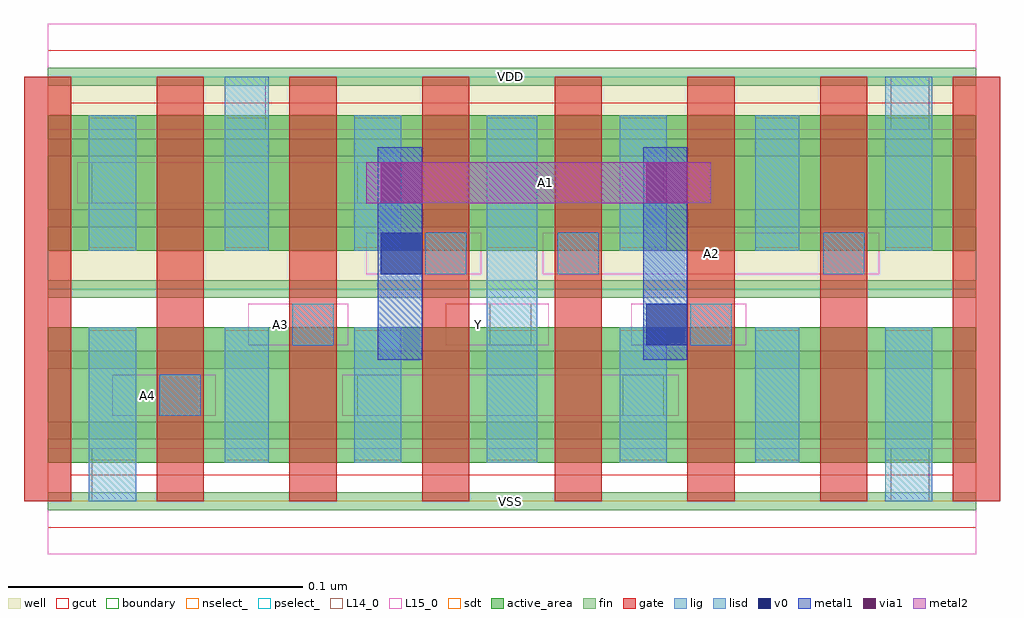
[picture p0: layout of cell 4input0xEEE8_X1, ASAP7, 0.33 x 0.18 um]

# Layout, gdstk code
import gdstk
lib = gdstk.Library(unit=1e-6, precision=1e-09)
def R(c, l, rs):  # rectangles x0, y0, x1, y1
    for r in rs: c.add(gdstk.rectangle(r[:2], r[2:], *l))
def A(c, l, x, y, w, h, nx, ny, dx, dy):  # array of equal rectangles
    R(c, l, [(x+i*dx, y+j*dy, x+i*dx+w, y+j*dy+h) for i in range(nx) for j in range(ny)])
def P(c, l, *ps):  # polygons
    for p in ps: c.add(gdstk.Polygon(p, *l))
well = (1, 0)
fin = (2, 0)
gate = (7, 0)
gcut = (10, 0)
active_area = (11, 0)
nselect_ = (12, 0)
pselect_ = (13, 0)
L14_0 = (14, 0)
L15_0 = (15, 0)
lig = (16, 0)
lisd = (17, 0)
v0 = (18, 0)
metal1 = (19, 0)
metal2 = (20, 0)
via1 = (21, 0)
sdt = (88, 0)
boundary = (100, 0)

c_4input0xeee8_x1 = lib.new_cell('4input0xEEE8_X1')
R(c_4input0xeee8_x1, well, [(0,0.072,0.315,0.144)])
A(c_4input0xeee8_x1, fin, 0, -0.003, 0.315, 0.006, 1, 7, 0, 0.024)
A(c_4input0xeee8_x1, gate, -0.008, 0, 0.016, 0.144, 8, 1, 0.045, 0)
P(c_4input0xeee8_x1, gcut, [(0,-0.009),(0,0),(-0.008,0),(-0.008,0.135),(0.008,0.135),(0.008,0.009),(0.307,0.009),(0.307,0.135),(-0.008,0.135),(-0.008,0.144),(0,0.144),(0,0.153),(0.315,0.153),(0.315,0.144),(0.323,0.144),(0.323,0),(0.315,0),(0.315,-0.009)])
R(c_4input0xeee8_x1, active_area, [(0,0.013,0.315,0.059), (0,0.085,0.315,0.131)])
R(c_4input0xeee8_x1, nselect_, [(0,0,0.315,0.072)])
R(c_4input0xeee8_x1, pselect_, [(0,0.072,0.315,0.144)])
R(c_4input0xeee8_x1, L14_0, [(0.015,0,0.03,0.018), (0.286,0,0.299,0.018), (0.038,0.029,0.052,0.043), (0.105,0.029,0.12,0.043), (0.195,0.029,0.209,0.043), (0.083,0.053,0.097,0.067), (0.15,0.053,0.164,0.067), (0.218,0.053,0.232,0.067), (0.128,0.077,0.142,0.091), (0.173,0.077,0.187,0.091), (0.263,0.077,0.277,0.091), (0.015,0.101,0.03,0.115), (0.105,0.101,0.12,0.115), (0.195,0.101,0.209,0.115), (0.06,0.126,0.074,0.144), (0.286,0.126,0.299,0.144)])
R(c_4input0xeee8_x1, L15_0, [(0,-0.018,0.315,0.018), (0.022,0.029,0.057,0.043), (0.1,0.029,0.214,0.043), (0.068,0.053,0.102,0.067), (0.135,0.053,0.17,0.067), (0.198,0.053,0.237,0.067), (0.108,0.077,0.147,0.091), (0.168,0.077,0.282,0.091), (0.01,0.101,0.214,0.115), (0,0.126,0.315,0.162)])
R(c_4input0xeee8_x1, lig, [(0.038,0.029,0.052,0.043), (0.083,0.053,0.097,0.067), (0.218,0.053,0.232,0.067), (0.128,0.077,0.142,0.091), (0.173,0.077,0.187,0.091), (0.263,0.077,0.277,0.091)])
A(c_4input0xeee8_x1, lisd, 0.014, 0.085, 0.016, 0.046, 3, 1, 0.09, 0)
R(c_4input0xeee8_x1, lisd, [(0.014,0,0.03,0.059), (0.284,0,0.3,0.059), (0.06,0.013,0.075,0.059), (0.104,0.013,0.12,0.059), (0.149,0.013,0.166,0.131), (0.194,0.013,0.21,0.059), (0.24,0.013,0.255,0.059), (0.06,0.085,0.075,0.144), (0.24,0.085,0.255,0.131), (0.284,0.085,0.3,0.144)])
R(c_4input0xeee8_x1, v0, [(0.203,0.053,0.217,0.067), (0.113,0.077,0.127,0.091)])
R(c_4input0xeee8_x1, metal1, [(0.112,0.048,0.127,0.12), (0.202,0.048,0.217,0.12)])
R(c_4input0xeee8_x1, metal2, [(0.108,0.101,0.225,0.115)])
R(c_4input0xeee8_x1, via1, [(0.113,0.101,0.127,0.115), (0.203,0.101,0.217,0.115)])
A(c_4input0xeee8_x1, sdt, 0.014, 0.014, 0.016, 0.044, 4, 2, 0.09, 0.072)
R(c_4input0xeee8_x1, sdt, [(0.06,0.014,0.075,0.058), (0.149,0.014,0.166,0.058), (0.24,0.014,0.255,0.058), (0.06,0.086,0.075,0.13), (0.149,0.086,0.166,0.13), (0.24,0.086,0.255,0.13)])
R(c_4input0xeee8_x1, boundary, [(0,0,0.315,0.144)])
c_4input0xeee8_x1.add(gdstk.Label('A4', (0.034,0.036), layer=15, texttype=251))
c_4input0xeee8_x1.add(gdstk.Label('VSS', (0.157,0), layer=15, texttype=251))
c_4input0xeee8_x1.add(gdstk.Label('VDD', (0.157,0.144), layer=15, texttype=251))
c_4input0xeee8_x1.add(gdstk.Label('Y', (0.146,0.06), layer=15, texttype=251))
c_4input0xeee8_x1.add(gdstk.Label('VSS', (0.157,0), layer=15, texttype=251))
c_4input0xeee8_x1.add(gdstk.Label('VDD', (0.157,0.144), layer=15, texttype=251))
c_4input0xeee8_x1.add(gdstk.Label('A2', (0.225,0.084), layer=15, texttype=251))
c_4input0xeee8_x1.add(gdstk.Label('VSS', (0.157,0), layer=15, texttype=251))
c_4input0xeee8_x1.add(gdstk.Label('VDD', (0.157,0.144), layer=15, texttype=251))
c_4input0xeee8_x1.add(gdstk.Label('VSS', (0.157,0), layer=15, texttype=251))
c_4input0xeee8_x1.add(gdstk.Label('VDD', (0.157,0.144), layer=15, texttype=251))
c_4input0xeee8_x1.add(gdstk.Label('A3', (0.079,0.06), layer=15, texttype=251))
c_4input0xeee8_x1.add(gdstk.Label('VSS', (0.157,0), layer=15, texttype=251))
c_4input0xeee8_x1.add(gdstk.Label('VDD', (0.157,0.144), layer=15, texttype=251))
c_4input0xeee8_x1.add(gdstk.Label('VSS', (0.157,0), layer=3, texttype=251))
c_4input0xeee8_x1.add(gdstk.Label('VSS', (0.157,0), layer=3, texttype=251))
c_4input0xeee8_x1.add(gdstk.Label('VSS', (0.157,0), layer=3, texttype=251))
c_4input0xeee8_x1.add(gdstk.Label('VSS', (0.157,0), layer=3, texttype=251))
c_4input0xeee8_x1.add(gdstk.Label('VSS', (0.157,0), layer=3, texttype=251))
c_4input0xeee8_x1.add(gdstk.Label('VDD', (0.157,0.144), layer=1, texttype=251))
c_4input0xeee8_x1.add(gdstk.Label('VDD', (0.157,0.144), layer=1, texttype=251))
c_4input0xeee8_x1.add(gdstk.Label('VDD', (0.157,0.144), layer=1, texttype=251))
c_4input0xeee8_x1.add(gdstk.Label('VDD', (0.157,0.144), layer=1, texttype=251))
c_4input0xeee8_x1.add(gdstk.Label('VDD', (0.157,0.144), layer=1, texttype=251))
c_4input0xeee8_x1.add(gdstk.Label('A1', (0.169,0.108), layer=20, texttype=251))

lib.write_gds('4input0xEEE8_X1.gds')
